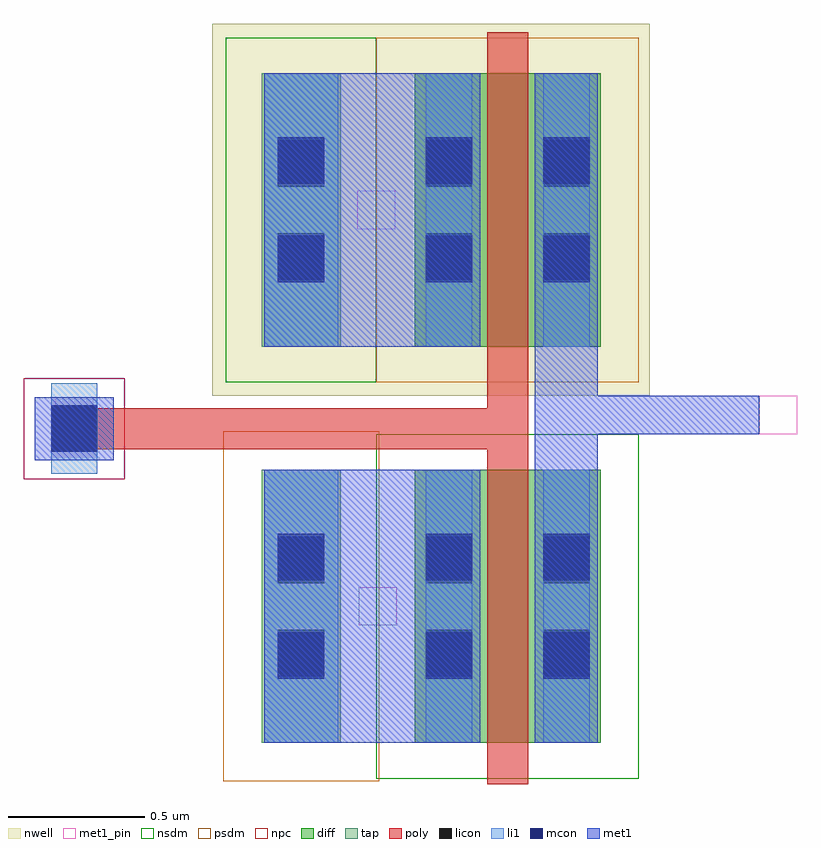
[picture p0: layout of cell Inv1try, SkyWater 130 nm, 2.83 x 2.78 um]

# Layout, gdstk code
import gdstk
lib = gdstk.Library(unit=1e-6, precision=1e-09)
def R(c, l, rs):  # rectangles x0, y0, x1, y1
    for r in rs: c.add(gdstk.rectangle(r[:2], r[2:], *l))
nwell = (64, 20)
diff = (65, 20)
tap = (65, 44)
poly = (66, 20)
licon = (66, 44)
li1 = (67, 20)
mcon = (67, 44)
met1_pin = (68, 16)
met1 = (68, 20)
nsdm = (93, 44)
psdm = (94, 20)
npc = (95, 20)

pfet_01v8_cdns_739807211 = lib.new_cell('pfet_01v8_CDNS_739807211021')
R(pfet_01v8_cdns_739807211, nwell, [(-1.005,-0.18,0.595,1.18)])
R(pfet_01v8_cdns_739807211, diff, [(-0.265,0,0,1), (0,0,0.15,1), (0.15,0,0.415,1)])
R(pfet_01v8_cdns_739807211, tap, [(-0.825,0,-0.535,1)])
R(pfet_01v8_cdns_739807211, poly, [(0,-0.15,0.15,-0.095), (0,-0.095,0.15,0), (0,0,0.15,1), (0,1,0.15,1.095), (0,1.095,0.15,1.15)])
R(pfet_01v8_cdns_739807211, licon, [(-0.765,0.245,-0.595,0.415), (-0.225,0.245,-0.055,0.415), (0.205,0.245,0.375,0.415), (-0.765,0.585,-0.595,0.755), (-0.225,0.585,-0.055,0.755), (0.205,0.585,0.375,0.755)])
R(pfet_01v8_cdns_739807211, li1, [(-0.815,0,-0.545,1), (-0.225,0,-0.055,1), (0.205,0,0.375,1)])
R(pfet_01v8_cdns_739807211, mcon, [(-0.765,0.235,-0.595,0.405), (-0.225,0.235,-0.055,0.405), (0.205,0.235,0.375,0.405), (-0.765,0.595,-0.595,0.765), (-0.225,0.595,-0.055,0.765), (0.205,0.595,0.375,0.765)])
R(pfet_01v8_cdns_739807211, met1, [(-0.815,0,-0.545,1), (-0.255,0,-0.025,1), (0.175,0,0.405,1)])
R(pfet_01v8_cdns_739807211, nsdm, [(-0.955,-0.13,-0.405,1.13)])
R(pfet_01v8_cdns_739807211, psdm, [(-0.405,-0.13,0.555,1.13)])

nfet_01v8_cdns_739807211 = lib.new_cell('nfet_01v8_CDNS_739807211022')
R(nfet_01v8_cdns_739807211, diff, [(-0.265,0,0,1), (0,0,0.15,1), (0.15,0,0.415,1)])
R(nfet_01v8_cdns_739807211, tap, [(-0.825,0,-0.535,1)])
R(nfet_01v8_cdns_739807211, poly, [(0,-0.15,0.15,-0.095), (0,-0.095,0.15,0), (0,0,0.15,1), (0,1,0.15,1.095), (0,1.095,0.15,1.15)])
R(nfet_01v8_cdns_739807211, licon, [(-0.765,0.245,-0.595,0.415), (-0.225,0.245,-0.055,0.415), (0.205,0.245,0.375,0.415), (-0.765,0.585,-0.595,0.755), (-0.225,0.585,-0.055,0.755), (0.205,0.585,0.375,0.755)])
R(nfet_01v8_cdns_739807211, li1, [(-0.815,0,-0.545,1), (-0.225,0,-0.055,1), (0.205,0,0.375,1)])
R(nfet_01v8_cdns_739807211, mcon, [(-0.765,0.235,-0.595,0.405), (-0.225,0.235,-0.055,0.405), (0.205,0.235,0.375,0.405), (-0.765,0.595,-0.595,0.765), (-0.225,0.595,-0.055,0.765), (0.205,0.595,0.375,0.765)])
R(nfet_01v8_cdns_739807211, met1, [(-0.815,0,-0.545,1), (-0.255,0,-0.025,1), (0.175,0,0.405,1)])
R(nfet_01v8_cdns_739807211, nsdm, [(-0.405,-0.13,0.555,1.13)])
R(nfet_01v8_cdns_739807211, psdm, [(-0.965,-0.14,-0.395,1.14)])

polyconn_cdns_7398072110 = lib.new_cell('polyConn_CDNS_739807211020')
R(polyconn_cdns_7398072110, poly, [(-0.085,-0.085,0.085,0.085)])
R(polyconn_cdns_7398072110, licon, [(-0.085,-0.085,0.085,0.085)])
R(polyconn_cdns_7398072110, li1, [(-0.085,-0.165,0.085,0.165)])
R(polyconn_cdns_7398072110, mcon, [(-0.085,-0.085,0.085,0.085)])
R(polyconn_cdns_7398072110, met1, [(-0.145,-0.115,0.145,0.115)])
R(polyconn_cdns_7398072110, npc, [(-0.185,-0.185,0.185,0.185)])

inv1try = lib.new_cell('Inv1try')
R(inv1try, met1_pin, [(1.11,0.84,1.25,0.98), (0,1.53,0.14,1.67), (2.575,1.54,2.715,1.68), (1.105,2.29,1.245,2.43)])
R(inv1try, met1, [(1.035,0.41,1.325,1.41), (1.035,1.86,1.325,2.86)])
inv1try.add(gdstk.FlexPath([(0.07,1.56),(1.655,1.56)], 0.15, ends=(0, 0.075), simple_path=True, layer=66, datatype=20))  # poly
inv1try.add(gdstk.FlexPath([(1.655,1.56),(1.655,1.765)], 0.15, ends=(0.075, 0), simple_path=True, layer=66, datatype=20))  # poly
inv1try.add(gdstk.FlexPath([(1.87,1.61),(1.87,1.295)], 0.23, ends=(0.07, 0.115), simple_path=True, layer=68, datatype=20))  # met1
inv1try.add(gdstk.FlexPath([(1.87,1.295),(1.755,1.295)], 0.23, ends=(0.115, 0), simple_path=True, layer=68, datatype=20))  # met1
inv1try.add(gdstk.FlexPath([(2.575,1.61),(1.87,1.61)], 0.14, ends=(0, 0.115), simple_path=True, layer=68, datatype=20))  # met1
inv1try.add(gdstk.FlexPath([(1.87,1.86),(1.87,1.61)], 0.23, ends=(0, 0.07), simple_path=True, layer=68, datatype=20))  # met1
inv1try.add(gdstk.Reference(pfet_01v8_cdns_739807211, (1.58,1.86)))
inv1try.add(gdstk.Reference(nfet_01v8_cdns_739807211, (1.58,0.41)))
inv1try.add(gdstk.Reference(polyconn_cdns_7398072110, (0.07,1.56)))

lib.write_gds('Inv1try.gds')
